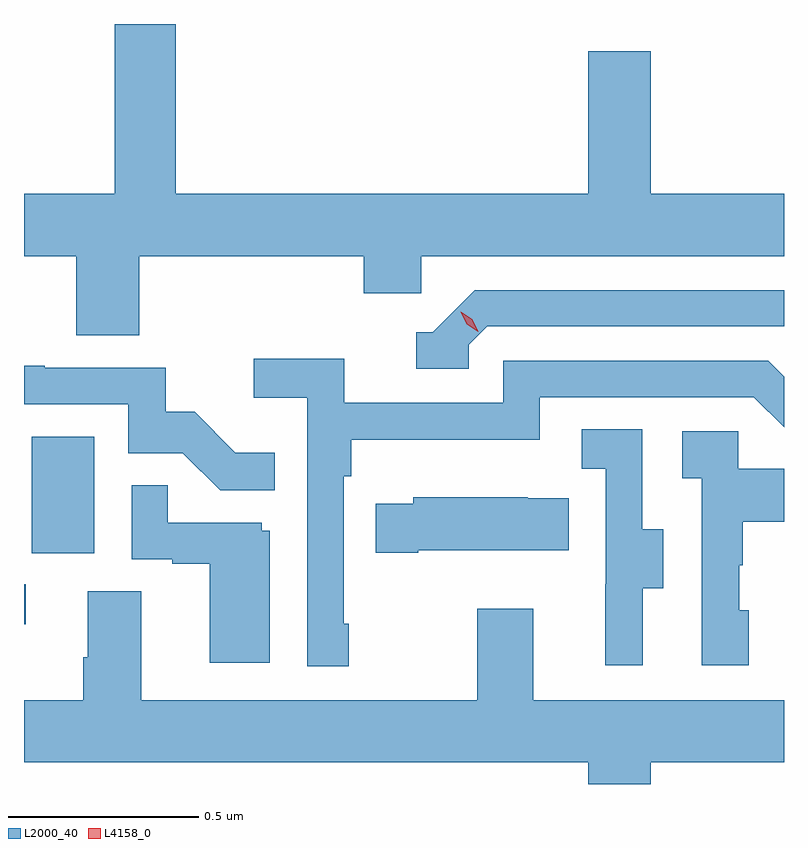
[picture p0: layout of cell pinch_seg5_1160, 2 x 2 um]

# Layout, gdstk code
import gdstk
lib = gdstk.Library(unit=1e-6, precision=1e-09)
def R(c, l, rs):  # rectangles x0, y0, x1, y1
    for r in rs: c.add(gdstk.rectangle(r[:2], r[2:], *l))
def P(c, l, *ps):  # polygons
    for p in ps: c.add(gdstk.Polygon(p, *l))
L2000_40 = (2000, 40)
L4158_0 = (4158, 0)

pinch_seg5_1160 = lib.new_cell('pinch_seg5_1160')
R(pinch_seg5_1160, L2000_40, [(810.875,843.804,810.88,843.909), (810.896,843.99,811.06,844.297)])
P(pinch_seg5_1160, L2000_40, [(811.178,844.772),(811.769,844.772),(811.769,844.674),(811.92,844.674),(811.92,844.772),(812.875,844.772),(812.875,844.936),(812.524,844.936),(812.524,845.311),(812.36,845.311),(812.36,844.936),(811.274,844.936),(811.274,845.383),(811.114,845.383),(811.114,844.936),(810.875,844.936),(810.875,844.772),(811.013,844.772),(811.013,844.564),(811.178,844.564)],
  [(812.046,844.539),(812.094,844.587),(812.875,844.587),(812.875,844.683),(812.061,844.683),(811.95,844.572),(811.907,844.572),(811.907,844.476),(812.046,844.476)],
  [(811.729,843.805),(811.716,843.805),(811.716,844.193),(811.736,844.193),(811.736,844.289),(812.232,844.289),(812.232,844.401),(812.796,844.401),(812.875,844.322),(812.875,844.455),(812.833,844.497),(812.136,844.497),(812.136,844.386),(811.718,844.386),(811.718,844.502),(811.479,844.502),(811.479,844.4),(811.62,844.4),(811.62,843.693),(811.729,843.693)],
  [(811.535,844.255),(811.431,844.255),(811.324,844.362),(811.248,844.362),(811.248,844.479),(810.929,844.479),(810.929,844.484),(810.875,844.484),(810.875,844.383),(811.149,844.383),(811.149,844.254),(811.293,844.254),(811.391,844.156),(811.535,844.156)],
  [(812.503,843.898),(812.557,843.898),(812.557,844.053),(812.502,844.053),(812.502,844.316),(812.343,844.316),(812.343,844.213),(812.406,844.213),(812.406,843.909),(812.405,843.909),(812.405,843.696),(812.503,843.696)],
  [(812.782,843.84),(812.757,843.84),(812.757,843.959),(812.767,843.959),(812.767,844.073),(812.875,844.073),(812.875,844.213),(812.754,844.213),(812.754,844.311),(812.607,844.311),(812.607,844.187),(812.658,844.187),(812.658,843.696),(812.782,843.696)],
  [(811.522,844.05),(811.5,844.05),(811.5,844.071),(811.253,844.071),(811.253,844.169),(811.158,844.169),(811.158,843.975),(811.265,843.975),(811.265,843.963),(811.364,843.963),(811.364,843.702),(811.522,843.702)],
  [(811.912,843.998),(812.309,843.998),(812.309,844.135),(812.201,844.135),(812.201,844.138),(811.899,844.138),(811.899,844.12),(811.801,844.12),(811.801,843.991),(811.912,843.991)],
  [(812.524,843.44),(812.875,843.44),(812.875,843.604),(812.215,843.604),(812.215,843.844),(812.068,843.844),(812.068,843.604),(811.183,843.604),(811.183,843.89),(811.043,843.89),(811.043,843.716),(811.031,843.716),(811.031,843.604),(810.875,843.604),(810.875,843.44),(812.36,843.44),(812.36,843.383),(812.524,843.383)])
P(pinch_seg5_1160, L4158_0, [(812.07,844.573),(812.04,844.593),(812.024,844.626),(812.024,844.626),(812.024,844.626),(812.055,844.606),(812.071,844.574),(812.071,844.573)])

lib.write_gds('pinch_seg5_1160.gds')
